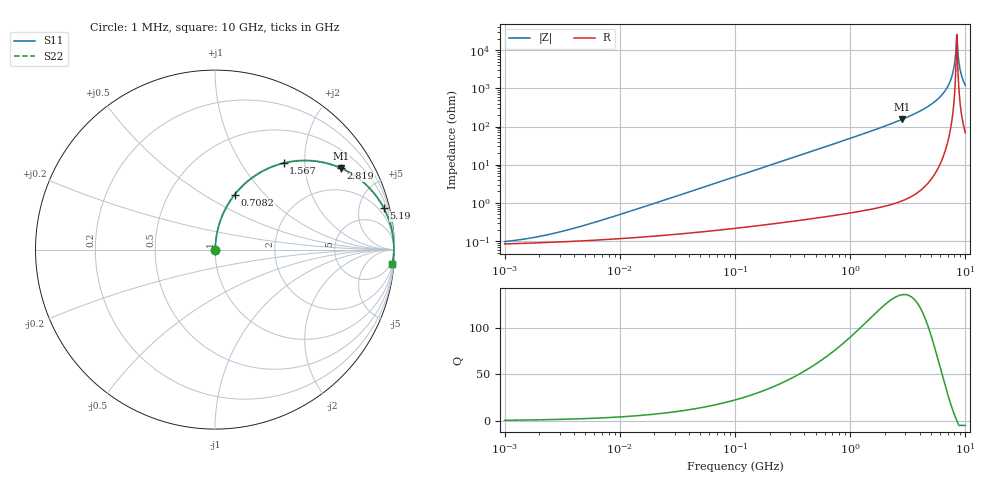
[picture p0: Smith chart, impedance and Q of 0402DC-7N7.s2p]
# MHz  S  MA  R  50
!Freq  MagS11  AngS11  MagS21  AngS21  MagS12  AngS12  MagS22  AngS22
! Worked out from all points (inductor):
!   801 points, 1 MHz to 10 GHz, reference 50 ohm
!   read as one part in series: L = 7.7 nH near 6.684 MHz
!   highest Q = 136 at 2.819 GHz (marker M1), where L = 8.67 nH
!   self-resonance near 8.418 GHz
!   S11 on the Smith chart (normalised r, x): 1 MHz: 1.00, +0.00; 708.2 MHz: 1.01, +0.69; 1.567 GHz: 1.01, +1.57; 2.819 GHz: 1.02, +3.07; 5.19 GHz: 1.09, +8.09; 10 GHz: 2, -24
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1  0.0009737 29.7  0.9992 -0.0  0.9992 -0.0  0.0009737 29.7
2.089368  0.00136 47.9  0.9991 -0.1  0.9991 -0.1  0.00136 47.9
4.67769  0.002478 65.7  0.999 -0.1  0.999 -0.1  0.002478 65.7
21.6303  0.01054 81.9  0.9986 -0.6  0.9986 -0.6  0.01054 81.9
100.0216  0.04829 84.7  0.9967 -2.8  0.9967 -2.8  0.04829 84.7
467.8699  0.2206 76.3  0.9716 -12.7  0.9716 -12.7  0.2206 76.3
708.1635  0.3249 70.3  0.9414 -19.0  0.9414 -19.0  0.3249 70.3
1567.291  0.615 51.5  0.7831 -38.0  0.7831 -38.0  0.615 51.5
2163.497  0.7432 41.5  0.6633 -48.0  0.6633 -48.0  0.7432 41.5
2819.432  0.8352 32.9  0.5438 -56.6  0.5438 -56.6  0.8352 32.9
3982.618  0.9249 21.9  0.3729 -67.6  0.3729 -67.6  0.9249 21.9
5190.08  0.9681 13.9  0.2394 -75.5  0.2394 -75.5  0.9681 13.9
6312.161  0.987 8.2  0.142 -80.7  0.142 -80.7  0.987 8.2
7164.414  0.9936 4.6  0.0797 -83.1  0.0797 -83.1  0.9936 4.6
7676.832  0.9955 2.6  0.04591 -83.1  0.04591 -83.1  0.9955 2.6
7855.657  0.9959 2.0  0.0347 -82.2  0.0347 -82.2  0.9959 2.0
8131.735  0.9962 1.0  0.01801 -77.3  0.01801 -77.3  0.9962 1.0
8417.515  0.9962 0.0  0.003886 -11.3  0.003886 -11.3  0.9962 0.0
8713.339  0.9959 -0.9  0.01659 75.2  0.01659 75.2  0.9959 -0.9
9019.56  0.9953 -1.9  0.03323 80.9  0.03323 80.9  0.9953 -1.9
9336.542  0.9944 -2.9  0.05003 82.1  0.05003 82.1  0.9944 -2.9
10000  0.9917 -4.8  0.08353 81.9  0.08353 81.9  0.9917 -4.8
